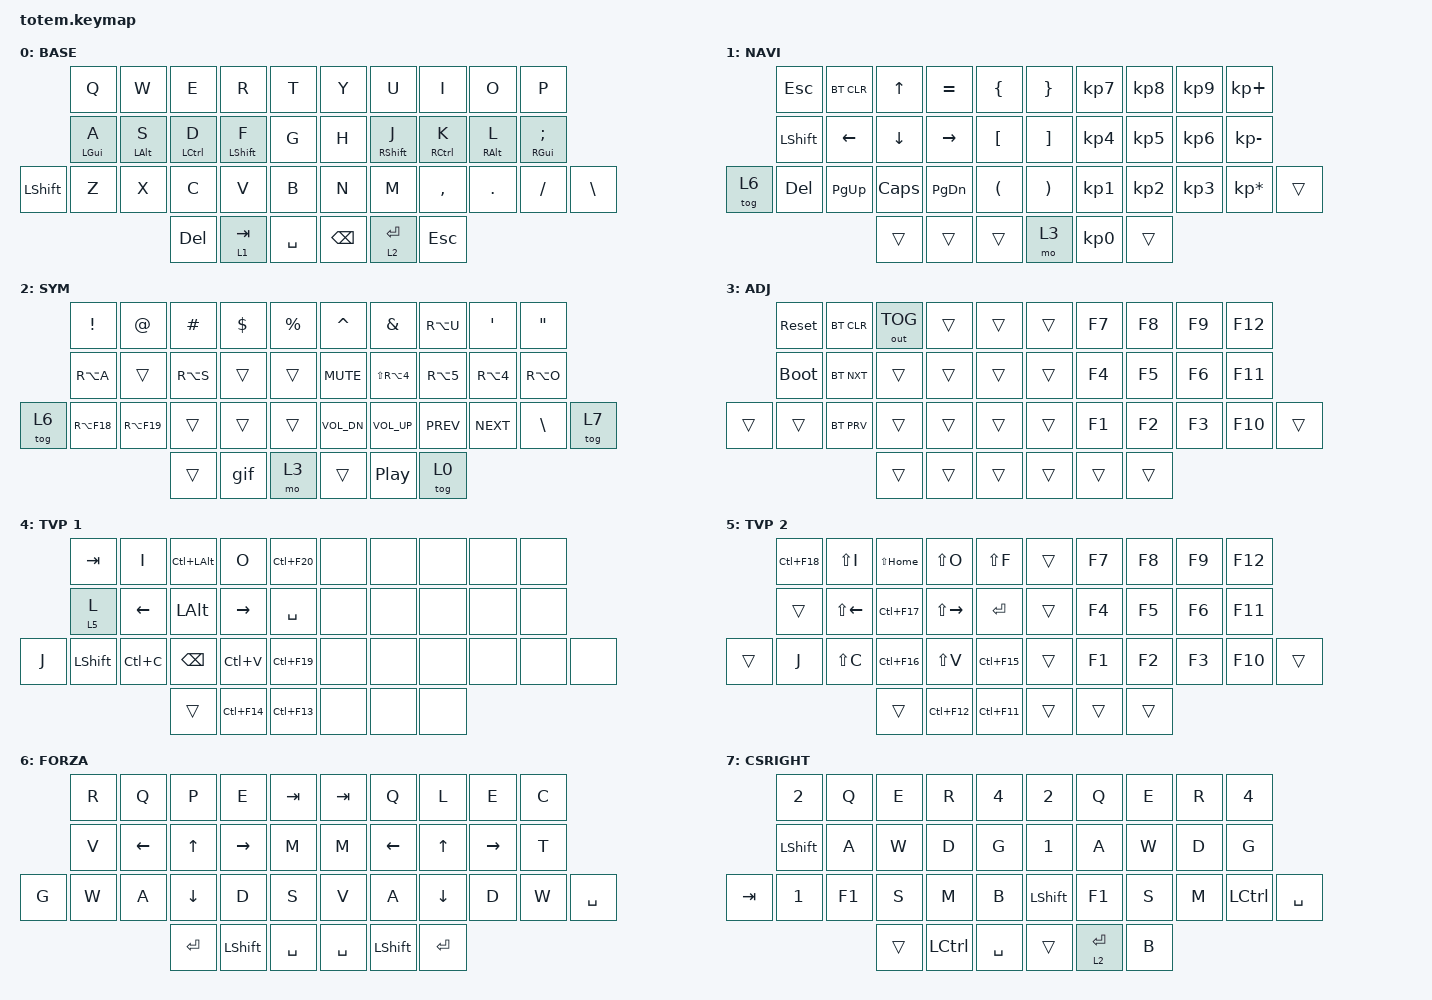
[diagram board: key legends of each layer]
//
//                                                        ▀▀▀▀▀     ▀▀▀▀▀          ▀▀█▀▀
//                                                        ▄▀▀▀▄  ▄  ▄▀▀▀▄  ▄  ▄▀▀▀▄  █  ▄▀▀▀▄
//                                                        █   █  █  █   █  █  █   █  █  █   █
//                                                         ▀▀▀   █   ▀▀▀   █   ▀▀▀   ▀   ▀▀▀
//                                                               █      ▄▄▄█▄▄▄    █   █  
//                                                               ▀      █  █  █     █▄█
//                                                             ▀▀▀▀▀    █  █  █      ▀
//                                                                      ▀  ▀  ▀
//
// ▄▄▄▄▄▄▄▄▄▄▄▄▄▄▄▄▄▄▄▄▄▄▄▄▄▄▄▄▄▄▄▄▄▄▄▄▄▄▄▄▄▄▄▄▄▄▄▄▄▄▄▄▄▄▄▄▄▄▄▄▄▄▄▄▄▄▄▄▄▄▄▄▄▄▄▄▄▄▄▄▄▄▄▄▄▄▄▄▄▄▄▄▄▄▄▄▄▄▄▄▄▄▄▄▄▄▄▄▄▄▄▄▄▄▄▄▄▄▄▄▄▄▄▄▄▄▄▄▄▄▄▄▄▄▄▄▄▄▄▄▄▄▄▄▄▄▄▄▄

#include <behaviors.dtsi>
#include <dt-bindings/zmk/bt.h>
#include <dt-bindings/zmk/keys.h>
#include <dt-bindings/zmk/outputs.h>

#define BASE 0
#define NAV  1
#define SYM  2
#define ADJ  3
#define TVP1 4
#define TVP2 5

&mt {
    quick-tap-ms = <100>;
    global-quick-tap;
    flavor = "tap-preferred";
    tapping-term-ms = <300>;
};

/ {
    combos {
        compatible = "zmk,combos";

        combo_esc {
            timeout-ms = <50>;
            key-positions = <0 1>;
            bindings = <&kp ESC>;
        };

        combo_tvp {
            timeout-ms = <100>;
            key-positions = <11 12 13>;
            bindings = <&tog 4>;
        };
    };

    macros {
        gif: gif {
            label = "giphy";
            compatible = "zmk,behavior-macro";
            #binding-cells = <0>;
            bindings =
                <&macro_press>,
                <&kp LSHFT>,
                <&macro_tap>,
                <&kp N2>,
                <&macro_release>,
                <&kp LSHFT>,
                <&macro_tap>,
                <&kp G &kp I &kp F>;
        };
    };

    keymap {
        compatible = "zmk,keymap";

        // ▄▄▄▄▄▄▄▄▄▄▄▄▄▄▄▄▄▄▄▄▄▄▄▄▄▄▄▄▄▄▄▄▄▄▄▄▄▄▄▄▄▄▄▄▄▄▄▄▄▄▄▄▄▄▄▄▄▄▄▄▄▄▄▄▄▄▄▄▄▄▄▄▄▄▄▄▄▄▄▄▄▄▄▄▄▄▄▄▄▄▄▄▄▄▄▄▄▄▄▄▄▄▄▄▄▄▄▄▄▄▄▄▄▄▄▄▄▄▄▄▄▄▄▄▄▄▄▄▄▄▄▄▄▄▄▄▄▄▄▄▄▄▄▄▄▄▄▄▄

        base_layer {
            // ┏━━━━━━━━━━━━━━━━━━━━━━━━━━━━━━━━━━━━━━━┓

            label = "BASE";

            // ┗━━━━━━━━━━━━━━━━━━━━━━━━━━━━━━━━━━━━━━━┛
            //             ┏━━━━━━━━━━━┳━━━━━━━━━━━┳━━━━━━━━━━━┳━━━━━━━━━━━┳━━━━━━━━━━━┓   ┏━━━━━━━━━━━┳━━━━━━━━━━━┳━━━━━━━━━━━┳━━━━━━━━━━━┳━━━━━━━━━━━┓
            //             ┃     Q     ┃     W     ┃     F     ┃     P     ┃     G     ┃   ┃     J     ┃     L     ┃     U     ┃     Y     ┃     ;     ┃
            //             ┣━━━━━━━━━━━╋━━━━━━━━━━━╋━━━━━━━━━━━╋━━━━━━━━━━━╋━━━━━━━━━━━┫   ┣━━━━━━━━━━━╋━━━━━━━━━━━╋━━━━━━━━━━━╋━━━━━━━━━━━╋━━━━━━━━━━━┫
            //             ┃     A     ┃     R     ┃     S     ┃     T     ┃     D     ┃   ┃     H     ┃     N     ┃     E     ┃     I     ┃     O     ┃
            // ┏━━━━━━━━━━━╋━━━━━━━━━━━╋━━━━━━━━━━━╋━━━━━━━━━━━╋━━━━━━━━━━━╋━━━━━━━━━━━┫   ┣━━━━━━━━━━━╋━━━━━━━━━━━╋━━━━━━━━━━━╋━━━━━━━━━━━╋━━━━━━━━━━━╋━━━━━━━━━━━┓
            // ┃     Q     ┃     Z     ┃     X     ┃     C     ┃     V     ┃     B     ┃   ┃     K     ┃     M     ┃     ,     ┃     .     ┃     /     ┃     \     ┃
            // ┗━━━━━━━━━━━┻━━━━━━━━━━━┻━━━━━━━━━━━╋━━━━━━━━━━━╋━━━━━━━━━━━╋━━━━━━━━━━━┫   ┣━━━━━━━━━━━╋━━━━━━━━━━━╋━━━━━━━━━━━╋━━━━━━━━━━━┻━━━━━━━━━━━┻━━━━━━━━━━━┛
            //                                     ┃    DEL    ┃    TAB    ┃    SPC    ┃   ┃   ENTER   ┃           ┃   BSPC    ┃
            //                                     ┗━━━━━━━━━━━┻━━━━━━━━━━━┻━━━━━━━━━━━┛   ┗━━━━━━━━━━━┻━━━━━━━━━━━┻━━━━━━━━━━━┛

            bindings = <
                &kp Q       &kp W       &kp E        &kp R        &kp T        &kp Y          &kp U        &kp I        &kp O       &kp P
                &mt LGUI A  &mt LALT S  &mt LCTRL D  &mt LSHFT F  &kp G        &kp H          &mt RSHFT J  &mt RCTRL K  &mt RALT L  &mt RGUI SEMICOLON
&kp LEFT_SHIFT  &kp Z       &kp X       &kp C        &kp V        &kp B        &kp N          &kp M        &kp COMMA    &kp DOT     &kp SLASH           &kp BSLH
                                        &kp DEL      &lt 1 TAB    &kp SPACE    &kp BACKSPACE  &lt 2 ENTER  &kp ESCAPE
            >;
        };

        // ▄▄▄▄▄▄▄▄▄▄▄▄▄▄▄▄▄▄▄▄▄▄▄▄▄▄▄▄▄▄▄▄▄▄▄▄▄▄▄▄▄▄▄▄▄▄▄▄▄▄▄▄▄▄▄▄▄▄▄▄▄▄▄▄▄▄▄▄▄▄▄▄▄▄▄▄▄▄▄▄▄▄▄▄▄▄▄▄▄▄▄▄▄▄▄▄▄▄▄▄▄▄▄▄▄▄▄▄▄▄▄▄▄▄▄▄▄▄▄▄▄▄▄▄▄▄▄▄▄▄▄▄▄▄▄▄▄▄▄▄▄▄▄▄▄▄▄▄▄

        nav_layer {
            // ┏━━━━━━━━━━━━━━━━━━━━━━━━━━━━━━━━━━━━━━━┓

            label = "NAVI";

            // ┗━━━━━━━━━━━━━━━━━━━━━━━━━━━━━━━━━━━━━━━┛
            //             ┏━━━━━━━━━━━┳━━━━━━━━━━━┳━━━━━━━━━━━┳━━━━━━━━━━━┳━━━━━━━━━━━┓   ┏━━━━━━━━━━━┳━━━━━━━━━━━┳━━━━━━━━━━━┳━━━━━━━━━━━┳━━━━━━━━━━━┓
            //             ┃           ┃           ┃     UP    ┃           ┃     {     ┃   ┃     }     ┃     7     ┃     8     ┃     9     ┃     +     ┃
            //             ┣━━━━━━━━━━━╋━━━━━━━━━━━╋━━━━━━━━━━━╋━━━━━━━━━━━╋━━━━━━━━━━━┫   ┣━━━━━━━━━━━╋━━━━━━━━━━━╋━━━━━━━━━━━╋━━━━━━━━━━━╋━━━━━━━━━━━┫
            //             ┃   SHIFT   ┃   LEFT    ┃    DOWN   ┃   RIGHT   ┃     [     ┃   ┃     ]     ┃     4     ┃     5     ┃     6     ┃     -     ┃
            // ┏━━━━━━━━━━━╋━━━━━━━━━━━╋━━━━━━━━━━━╋━━━━━━━━━━━╋━━━━━━━━━━━╋━━━━━━━━━━━┫   ┣━━━━━━━━━━━╋━━━━━━━━━━━╋━━━━━━━━━━━╋━━━━━━━━━━━╋━━━━━━━━━━━╋━━━━━━━━━━━┓
            // ┃           ┃           ┃   P UP    ┃  C LOCK   ┃  P DOWN   ┃     (     ┃   ┃     )     ┃     1     ┃     2     ┃     3     ┃     *     ┃           ┃
            // ┗━━━━━━━━━━━┻━━━━━━━━━━━┻━━━━━━━━━━━╋━━━━━━━━━━━╋━━━━━━━━━━━╋━━━━━━━━━━━┫   ┣━━━━━━━━━━━╋━━━━━━━━━━━╋━━━━━━━━━━━╋━━━━━━━━━━━┻━━━━━━━━━━━┻━━━━━━━━━━━┛
            //                                     ┃           ┃    TAB    ┃    SPC    ┃   ┃    DEL    ┃     0     ┃           ┃
            //                                     ┗━━━━━━━━━━━┻━━━━━━━━━━━┻━━━━━━━━━━━┛   ┗━━━━━━━━━━━┻━━━━━━━━━━━┻━━━━━━━━━━━┛

            bindings = <
        &kp ESC    &bt BT_CLR  &kp UP    &kp EQUAL  &kp LBRC    &kp RBRC  &kp KP_N7  &kp KP_N8  &kp KP_N9  &kp KP_PLUS
        &kp LSHFT  &kp LEFT    &kp DOWN  &kp RIGHT  &kp LBKT    &kp RBKT  &kp KP_N4  &kp KP_N5  &kp KP_N6  &kp KP_MINUS
&tog 6  &kp DEL    &kp PG_UP   &kp CAPS  &kp PG_DN  &kp LPAR    &kp RPAR  &kp KP_N1  &kp KP_N2  &kp KP_N3  &kp KP_MULTIPLY  &trans
                               &trans    &trans     &trans      &mo 3     &kp KP_N0  &trans
            >;
        };

        // ▄▄▄▄▄▄▄▄▄▄▄▄▄▄▄▄▄▄▄▄▄▄▄▄▄▄▄▄▄▄▄▄▄▄▄▄▄▄▄▄▄▄▄▄▄▄▄▄▄▄▄▄▄▄▄▄▄▄▄▄▄▄▄▄▄▄▄▄▄▄▄▄▄▄▄▄▄▄▄▄▄▄▄▄▄▄▄▄▄▄▄▄▄▄▄▄▄▄▄▄▄▄▄▄▄▄▄▄▄▄▄▄▄▄▄▄▄▄▄▄▄▄▄▄▄▄▄▄▄▄▄▄▄▄▄▄▄▄▄▄▄▄▄▄▄▄▄▄▄

        sim_layer {
            // ┏━━━━━━━━━━━━━━━━━━━━━━━━━━━━━━━━━━━━━━━┓

            label = "SYM";

            // ┗━━━━━━━━━━━━━━━━━━━━━━━━━━━━━━━━━━━━━━━┛
            //             ┏━━━━━━━━━━━┳━━━━━━━━━━━┳━━━━━━━━━━━┳━━━━━━━━━━━┳━━━━━━━━━━━┓   ┏━━━━━━━━━━━┳━━━━━━━━━━━┳━━━━━━━━━━━┳━━━━━━━━━━━┳━━━━━━━━━━━┓
            //             ┃     !     ┃     @     ┃     #     ┃     $     ┃     %     ┃   ┃     ˆ     ┃     &     ┃     Ü     ┃     '     ┃     "     ┃
            //             ┣━━━━━━━━━━━╋━━━━━━━━━━━╋━━━━━━━━━━━╋━━━━━━━━━━━╋━━━━━━━━━━━┫   ┣━━━━━━━━━━━╋━━━━━━━━━━━╋━━━━━━━━━━━╋━━━━━━━━━━━╋━━━━━━━━━━━┫
            //             ┃     Ä     ┃           ┃    SZ     ┃           ┃           ┃   ┃   MUTE    ┃   YEN     ┃   EURO    ┃  POUND    ┃     Ö     ┃
            // ┏━━━━━━━━━━━╋━━━━━━━━━━━╋━━━━━━━━━━━╋━━━━━━━━━━━╋━━━━━━━━━━━╋━━━━━━━━━━━┫   ┣━━━━━━━━━━━╋━━━━━━━━━━━╋━━━━━━━━━━━╋━━━━━━━━━━━╋━━━━━━━━━━━╋━━━━━━━━━━━┓
            // ┃           ┃  EMAIL1   ┃  EMAIL2   ┃           ┃           ┃           ┃   ┃   VOL-    ┃   VOL+    ┃   LAST    ┃   NEXT    ┃     \     ┃           ┃
            // ┗━━━━━━━━━━━┻━━━━━━━━━━━┻━━━━━━━━━━━╋━━━━━━━━━━━╋━━━━━━━━━━━╋━━━━━━━━━━━┫   ┣━━━━━━━━━━━╋━━━━━━━━━━━╋━━━━━━━━━━━╋━━━━━━━━━━━┻━━━━━━━━━━━┻━━━━━━━━━━━┛
            //                                     ┃           ┃    GIF    ┃    ADJ    ┃   ┃           ┃           ┃           ┃
            //                                     ┗━━━━━━━━━━━┻━━━━━━━━━━━┻━━━━━━━━━━━┛   ┗━━━━━━━━━━━┻━━━━━━━━━━━┻━━━━━━━━━━━┛

            bindings = <
        &kp EXCL     &kp AT       &kp HASH   &kp DLLR  &kp PRCNT    &kp CARET     &kp AMPS        &kp RA(U)   &kp SQT     &kp DQT
        &kp RA(A)    &trans       &kp RA(S)  &trans    &trans       &kp C_MUTE    &kp LS(RA(N4))  &kp RA(N5)  &kp RA(N4)  &kp RA(O)
&tog 6  &kp RA(F18)  &kp RA(F19)  &trans     &trans    &trans       &kp C_VOL_DN  &kp C_VOL_UP    &kp C_PREV  &kp C_NEXT  &kp BSLH   &tog 7
                                  &trans     &gif      &mo 3        &trans        &kp C_PP        &tog 0
            >;
        };

        // ▄▄▄▄▄▄▄▄▄▄▄▄▄▄▄▄▄▄▄▄▄▄▄▄▄▄▄▄▄▄▄▄▄▄▄▄▄▄▄▄▄▄▄▄▄▄▄▄▄▄▄▄▄▄▄▄▄▄▄▄▄▄▄▄▄▄▄▄▄▄▄▄▄▄▄▄▄▄▄▄▄▄▄▄▄▄▄▄▄▄▄▄▄▄▄▄▄▄▄▄▄▄▄▄▄▄▄▄▄▄▄▄▄▄▄▄▄▄▄▄▄▄▄▄▄▄▄▄▄▄▄▄▄▄▄▄▄▄▄▄▄▄▄▄▄▄▄▄▄

        adjust_layer {
            // ┏━━━━━━━━━━━━━━━━━━━━━━━━━━━━━━━━━━━━━━━┓

            label = "ADJ";

            // ┗━━━━━━━━━━━━━━━━━━━━━━━━━━━━━━━━━━━━━━━┛
            //             ┏━━━━━━━━━━━┳━━━━━━━━━━━┳━━━━━━━━━━━┳━━━━━━━━━━━┳━━━━━━━━━━━┓   ┏━━━━━━━━━━━┳━━━━━━━━━━━┳━━━━━━━━━━━┳━━━━━━━━━━━┳━━━━━━━━━━━┓
            //             ┃   RESET   ┃ BT CLEAR  ┃  OUT TOG  ┃           ┃           ┃   ┃           ┃    F7     ┃    F8     ┃    F9     ┃    F12    ┃
            //             ┣━━━━━━━━━━━╋━━━━━━━━━━━╋━━━━━━━━━━━╋━━━━━━━━━━━╋━━━━━━━━━━━┫   ┣━━━━━━━━━━━╋━━━━━━━━━━━╋━━━━━━━━━━━╋━━━━━━━━━━━╋━━━━━━━━━━━┫
            //             ┃ BOOTLOAD  ┃ BT NEXT   ┃           ┃           ┃           ┃   ┃           ┃    F4     ┃    F5     ┃    F6     ┃    F11    ┃
            // ┏━━━━━━━━━━━╋━━━━━━━━━━━╋━━━━━━━━━━━╋━━━━━━━━━━━╋━━━━━━━━━━━╋━━━━━━━━━━━┫   ┣━━━━━━━━━━━╋━━━━━━━━━━━╋━━━━━━━━━━━╋━━━━━━━━━━━╋━━━━━━━━━━━╋━━━━━━━━━━━┓
            // ┃           ┃           ┃ BT PREV   ┃           ┃           ┃           ┃   ┃           ┃    F1     ┃    F2     ┃    F3     ┃    F10    ┃           ┃
            // ┗━━━━━━━━━━━┻━━━━━━━━━━━┻━━━━━━━━━━━╋━━━━━━━━━━━╋━━━━━━━━━━━╋━━━━━━━━━━━┫   ┣━━━━━━━━━━━╋━━━━━━━━━━━╋━━━━━━━━━━━╋━━━━━━━━━━━┻━━━━━━━━━━━┻━━━━━━━━━━━┛
            //                                     ┃           ┃           ┃           ┃   ┃           ┃           ┃           ┃
            //                                     ┗━━━━━━━━━━━┻━━━━━━━━━━━┻━━━━━━━━━━━┛   ┗━━━━━━━━━━━┻━━━━━━━━━━━┻━━━━━━━━━━━┛

            bindings = <
        &sys_reset   &bt BT_CLR  &out OUT_TOG  &trans  &trans    &trans  &kp F7  &kp F8  &kp F9  &kp F12
        &bootloader  &bt BT_NXT  &trans        &trans  &trans    &trans  &kp F4  &kp F5  &kp F6  &kp F11
&trans  &trans       &bt BT_PRV  &trans        &trans  &trans    &trans  &kp F1  &kp F2  &kp F3  &kp F10  &trans
                                 &trans        &trans  &trans    &trans  &trans  &trans
            >;
        };

        // ▄▄▄▄▄▄▄▄▄▄▄▄▄▄▄▄▄▄▄▄▄▄▄▄▄▄▄▄▄▄▄▄▄▄▄▄▄▄▄▄▄▄▄▄▄▄▄▄▄▄▄▄▄▄▄▄▄▄▄▄▄▄▄▄▄▄▄▄▄▄▄▄▄▄▄▄▄▄▄▄▄▄▄▄▄▄▄▄▄▄▄▄▄▄▄▄▄▄▄▄▄▄▄▄▄▄▄▄▄▄▄▄▄▄▄▄▄▄▄▄▄▄▄▄▄▄▄▄▄▄▄▄▄▄▄▄▄▄▄▄▄▄▄▄▄▄▄▄▄

        tvp1_layer {
            // ┏━━━━━━━━━━━━━━━━━━━━━━━━━━━━━━━━━━━━━━━┓

            label = "TVP 1";

            // ┗━━━━━━━━━━━━━━━━━━━━━━━━━━━━━━━━━━━━━━━┛
            //             ┏━━━━━━━━━━━┳━━━━━━━━━━━┳━━━━━━━━━━━┳━━━━━━━━━━━┳━━━━━━━━━━━┓   ┏━━━━━━━━━━━┳━━━━━━━━━━━┳━━━━━━━━━━━┳━━━━━━━━━━━┳━━━━━━━━━━━┓
            //             ┃ NEXT FILE ┃ MARK IN   ┃ ROTATE    ┃ MARK OUT  ┃ SHOW SNAP ┃   ┃           ┃           ┃           ┃           ┃           ┃
            //             ┣━━━━━━━━━━━╋━━━━━━━━━━━╋━━━━━━━━━━━╋━━━━━━━━━━━╋━━━━━━━━━━━┫   ┣━━━━━━━━━━━╋━━━━━━━━━━━╋━━━━━━━━━━━╋━━━━━━━━━━━╋━━━━━━━━━━━┫
            //             ┃ TVP II    ┃ LEFT      ┃ PAN       ┃ RIGHT     ┃ PLAY/FLIP ┃   ┃           ┃           ┃           ┃           ┃           ┃
            // ┏━━━━━━━━━━━╋━━━━━━━━━━━╋━━━━━━━━━━━╋━━━━━━━━━━━╋━━━━━━━━━━━╋━━━━━━━━━━━┫   ┣━━━━━━━━━━━╋━━━━━━━━━━━╋━━━━━━━━━━━╋━━━━━━━━━━━╋━━━━━━━━━━━╋━━━━━━━━━━━┓
            // ┃ FULLSCR   ┃ SHIFT     ┃ COPY      ┃ DELETE    ┃ PASTE     ┃ IMG MARK  ┃   ┃           ┃           ┃           ┃           ┃           ┃           ┃
            // ┗━━━━━━━━━━━┻━━━━━━━━━━━┻━━━━━━━━━━━╋━━━━━━━━━━━╋━━━━━━━━━━━╋━━━━━━━━━━━┫   ┣━━━━━━━━━━━╋━━━━━━━━━━━╋━━━━━━━━━━━╋━━━━━━━━━━━┻━━━━━━━━━━━┻━━━━━━━━━━━┛
            //                                     ┃           ┃ UNDO/SAVE ┃  SEL/MOV  ┃   ┃           ┃           ┃           ┃
            //                                     ┗━━━━━━━━━━━┻━━━━━━━━━━━┻━━━━━━━━━━━┛   ┗━━━━━━━━━━━┻━━━━━━━━━━━┻━━━━━━━━━━━┛

            bindings = <
       &kp TAB    &kp I      &kp LC(LALT)  &kp O        &kp LC(F20)    &none  &none  &none  &none  &none
       &lt 5 L    &kp LEFT   &kp LALT      &kp RIGHT    &kp SPACE      &none  &none  &none  &none  &none
&kp J  &kp LSHFT  &kp LC(C)  &kp BSPC      &kp LC(V)    &kp LC(F19)    &none  &none  &none  &none  &none  &none
                             &trans        &kp LC(F14)  &kp LC(F13)    &none  &none  &none
            >;
        };

        // ▄▄▄▄▄▄▄▄▄▄▄▄▄▄▄▄▄▄▄▄▄▄▄▄▄▄▄▄▄▄▄▄▄▄▄▄▄▄▄▄▄▄▄▄▄▄▄▄▄▄▄▄▄▄▄▄▄▄▄▄▄▄▄▄▄▄▄▄▄▄▄▄▄▄▄▄▄▄▄▄▄▄▄▄▄▄▄▄▄▄▄▄▄▄▄▄▄▄▄▄▄▄▄▄▄▄▄▄▄▄▄▄▄▄▄▄▄▄▄▄▄▄▄▄▄▄▄▄▄▄▄▄▄▄▄▄▄▄▄▄▄▄▄▄▄▄▄▄▄

        tvp2_layer {
            // ┏━━━━━━━━━━━━━━━━━━━━━━━━━━━━━━━━━━━━━━━┓

            label = "TVP 2";

            // ┗━━━━━━━━━━━━━━━━━━━━━━━━━━━━━━━━━━━━━━━┛
            //             ┏━━━━━━━━━━━┳━━━━━━━━━━━┳━━━━━━━━━━━┳━━━━━━━━━━━┳━━━━━━━━━━━┓   ┏━━━━━━━━━━━┳━━━━━━━━━━━┳━━━━━━━━━━━┳━━━━━━━━━━━┳━━━━━━━━━━━┓
            //             ┃ SOLO      ┃ TOGGLE IN ┃ RESET ROT ┃ TOGGLE OUT┃ TAKE SNAP ┃   ┃           ┃           ┃           ┃           ┃           ┃
            //             ┣━━━━━━━━━━━╋━━━━━━━━━━━╋━━━━━━━━━━━╋━━━━━━━━━━━╋━━━━━━━━━━━┫   ┣━━━━━━━━━━━╋━━━━━━━━━━━╋━━━━━━━━━━━╋━━━━━━━━━━━╋━━━━━━━━━━━┫
            //             ┃ ---       ┃ LAST KEY  ┃ NEW KEY   ┃ NEXT KEY  ┃ ENTER     ┃   ┃           ┃           ┃           ┃           ┃           ┃
            // ┏━━━━━━━━━━━╋━━━━━━━━━━━╋━━━━━━━━━━━╋━━━━━━━━━━━╋━━━━━━━━━━━╋━━━━━━━━━━━┫   ┣━━━━━━━━━━━╋━━━━━━━━━━━╋━━━━━━━━━━━╋━━━━━━━━━━━╋━━━━━━━━━━━╋━━━━━━━━━━━┓
            // ┃           ┃ FULLSCR   ┃ CPY2BRUSH ┃ DEL HEAD  ┃ PSTinPLACE┃ BOOK MARK ┃   ┃           ┃           ┃           ┃           ┃           ┃           ┃
            // ┗━━━━━━━━━━━┻━━━━━━━━━━━┻━━━━━━━━━━━╋━━━━━━━━━━━╋━━━━━━━━━━━╋━━━━━━━━━━━┫   ┣━━━━━━━━━━━╋━━━━━━━━━━━╋━━━━━━━━━━━╋━━━━━━━━━━━┻━━━━━━━━━━━┻━━━━━━━━━━━┛
            //                                     ┃           ┃ REDO/SAV1 ┃TRANS/WARP ┃   ┃           ┃           ┃           ┃
            //                                     ┗━━━━━━━━━━━┻━━━━━━━━━━━┻━━━━━━━━━━━┛   ┗━━━━━━━━━━━┻━━━━━━━━━━━┻━━━━━━━━━━━┛

            bindings = <
        &kp LC(F18)  &kp LS(I)     &kp LS(HOME)  &kp LS(O)      &kp LS(F)      &trans  &kp F7  &kp F8  &kp F9  &kp F12
        &trans       &kp LS(LEFT)  &kp LC(F17)   &kp LS(RIGHT)  &kp RET        &trans  &kp F4  &kp F5  &kp F6  &kp F11
&trans  &kp J        &kp LS(C)     &kp LC(F16)   &kp LS(V)      &kp LC(F15)    &trans  &kp F1  &kp F2  &kp F3  &kp F10  &trans
                                   &trans        &kp LC(F12)    &kp LC(F11)    &trans  &trans  &trans
            >;
        };

        FORZA {
            bindings = <
       &kp R  &kp Q     &kp P      &kp E      &kp TAB      &kp TAB    &kp Q      &kp L      &kp E      &kp C
       &kp V  &kp LEFT  &kp UP     &kp RIGHT  &kp M        &kp M      &kp LEFT   &kp UP     &kp RIGHT  &kp T
&kp G  &kp W  &kp A     &kp DOWN   &kp D      &kp S        &kp V      &kp A      &kp DOWN   &kp D      &kp W  &kp SPACE
                        &kp ENTER  &kp LSHFT  &kp SPACE    &kp SPACE  &kp LSHFT  &kp ENTER
            >;
        };

        CSRIGHT {
            bindings = <
         &kp NUMBER_2    &kp Q   &kp E   &kp R             &kp NUMBER_4    &kp NUMBER_2  &kp Q        &kp E  &kp R  &kp NUMBER_4
         &kp LEFT_SHIFT  &kp A   &kp W   &kp D             &kp G           &kp NUMBER_1  &kp A        &kp W  &kp D  &kp G
&kp TAB  &kp NUMBER_1    &kp F1  &kp S   &kp M             &kp B           &kp LSHIFT    &kp F1       &kp S  &kp M  &kp LEFT_CONTROL  &kp SPACE
                                 &trans  &kp LEFT_CONTROL  &kp SPACE       &trans        &lt 2 ENTER  &kp B
            >;
        };
    };
};
